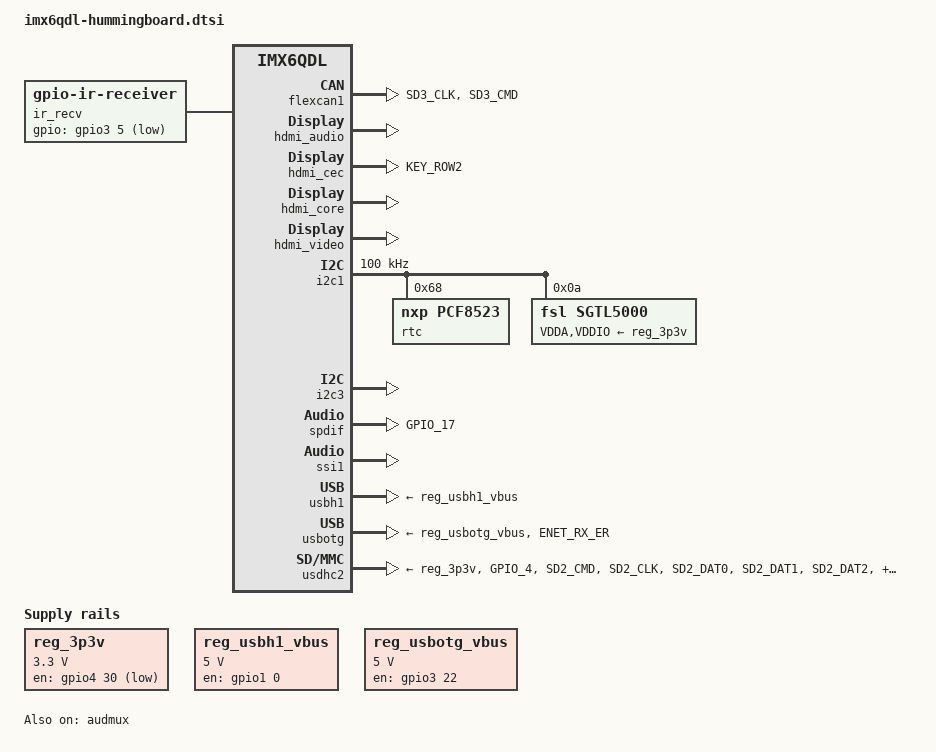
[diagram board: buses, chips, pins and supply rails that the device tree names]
/*
 * Copyright (C) 2013 Russell King
 *
 * The code contained herein is licensed under the GNU General Public
 * License version 2.
 */
#include "imx6qdl-microsom.dtsi"
#include "imx6qdl-microsom-ar8035.dtsi"

/ {
        aliases {
                mxcfb0 = &mxcfb1;
        };

	ir_recv: ir-receiver {
		compatible = "gpio-ir-receiver";
		gpios = <&gpio3 5 1>;
		pinctrl-names = "default";
		pinctrl-0 = <&pinctrl_hummingboard_gpio3_5>;
		linux,rc-map-name = "rc-rc6-mce";
	};

	regulators {
		compatible = "simple-bus";

		reg_3p3v: 3p3v {
			compatible = "regulator-fixed";
			regulator-name = "3P3V";
			regulator-min-microvolt = <3300000>;
			regulator-max-microvolt = <3300000>;
			gpio = <&gpio4 30 0>;
			startup-delay-us = <10000>;
			pinctrl-names = "default";
			pinctrl-0 = <&pinctrl_hummingboard_sd_reg_en>;
			enable-at-boot;
		};

		reg_usbh1_vbus: usb-h1-vbus {
			compatible = "regulator-fixed";
			enable-active-high;
			gpio = <&gpio1 0 0>;
			pinctrl-names = "default";
			pinctrl-0 = <&pinctrl_hummingboard_usbh1_vbus>;
			regulator-name = "usb_h1_vbus";
			regulator-min-microvolt = <5000000>;
			regulator-max-microvolt = <5000000>;
		};

		reg_usbotg_vbus: usb-otg-vbus {
			compatible = "regulator-fixed";
			enable-active-high;
			gpio = <&gpio3 22 0>;
			pinctrl-names = "default";
			pinctrl-0 = <&pinctrl_hummingboard_usbotg_vbus>;
			regulator-name = "usb_otg_vbus";
			regulator-min-microvolt = <5000000>;
			regulator-max-microvolt = <5000000>;
		};
	};

	sound-sgtl5000 {
		compatible = "fsl,imx-audio-sgtl5000";
		model = "On-board Codec";
		ssi-controller = <&ssi1>;
		audio-codec = <&sgtl5000>;
		audio-routing =
			"MIC_IN", "Mic Jack",
			"Mic Jack", "Mic Bias",
			"Headphone Jack", "HP_OUT";
		mux-int-port = <1>;
		mux-ext-port = <5>;
	};

	sound-spdif {
		compatible = "fsl,imx-audio-spdif";
		model = "imx-spdif";
		/* IMX6 doesn't implement this yet */
		spdif-controller = <&spdif>;
		spdif-out;
	};

        sound-hdmi {
                compatible = "fsl,imx6q-audio-hdmi",
                             "fsl,imx-audio-hdmi";
                model = "imx-audio-hdmi";
                hdmi-controller = <&hdmi_audio>;
        };

        mxcfb1: mxc_sdc_fb@0 {
                compatible = "fsl,mxc_sdc_fb";
                disp_dev = "hdmi";
                interface_pix_fmt = "RGB24";
                mode_str ="1920x1080@60";
                default_bpp = <32>;
                int_clk = <0>;
                late_init = <0>;
                status = "okay";
        };
};

&flexcan1 {
	pinctrl-names = "default";
	pinctrl-0 = <&pinctrl_hummingboard_flexcan1>;
	/* trx-stby-gpio = <&gpio1 2 GPIO_ACTIVE_LOW>; */
	status = "okay";
};


&hdmi_audio {
        status = "okay";
};

&hdmi_cec {
        pinctrl-names = "default";
        pinctrl-0 = <&pinctrl_hummingboard_hdmi>;
        status = "okay";
};

&hdmi_core {
        ipu_id = <1>;
        disp_id = <0>;
        status = "okay";
};

&hdmi_video {
        pinctrl-names = "default";
        pinctrl-0 = <&pinctrl_hdmi_hdcp_1>;
        fsl,phy_reg_vlev = <0x0294>;
        fsl,phy_reg_cksymtx = <0x800d>;
        fsl,hdcp;
        status = "okay";
};

&audmux {
	status = "okay";
};

&i2c1 {
	clock-frequency = <100000>;
	pinctrl-names = "default";
	pinctrl-0 = <&pinctrl_i2c1_1>;

	status = "okay";

	rtc: pcf8523@68 {
		compatible = "nxp,pcf8523";
		reg = <0x68>;
	};

	sgtl5000: sgtl5000@0a {
		compatible = "fsl,sgtl5000";
		pinctrl-0 = <&pinctrl_hummingboard_sgtl5000>;
		pinctrl-names = "default";
		reg = <0x0a>;
		clocks = <&clks 201>;
		VDDA-supply = <&reg_3p3v>;
		VDDIO-supply = <&reg_3p3v>;
	};
};

&i2c2 {
	clock-frequency = <100000>;
	pinctrl-names = "default";
	pinctrl-0 = <&pinctrl_i2c2_2>;
	status = "disable";
};

&i2c3 {
	pinctrl-names = "default";
	pinctrl-0 = <&pinctrl_i2c3_1>;

	status = "okay";
};

&iomuxc {
	hummingboard {
		pinctrl_hummingboard_flexcan1: hummingboard-flexcan1 {
			fsl,pins = <
				MX6QDL_PAD_SD3_CLK__FLEXCAN1_RX 0x80000000
				MX6QDL_PAD_SD3_CMD__FLEXCAN1_TX 0x80000000
			>;
		};

		pinctrl_hummingboard_gpio3_5: hummingboard-gpio3_5 {
			fsl,pins = <
				MX6QDL_PAD_EIM_DA5__GPIO3_IO05 0x80000000
			>;
		};

		pinctrl_hummingboard_hdmi: hummingboard-hdmi {
			fsl,pins = <
				MX6QDL_PAD_KEY_ROW2__HDMI_TX_CEC_LINE 0x1f8b0
			>;
		};

		pinctrl_hummingboard_sgtl5000: hummingboard-sgtl5000 {
			fsl,pins = <
				MX6QDL_PAD_DISP0_DAT19__AUD5_RXD 0x130b0 /*brk*/
				MX6QDL_PAD_KEY_COL0__AUD5_TXC 0x130b0 /*ok*/
				MX6QDL_PAD_KEY_ROW0__AUD5_TXD 0x110b0 /*brk*/
				MX6QDL_PAD_KEY_COL1__AUD5_TXFS 0x130b0 /*ok*/
				MX6QDL_PAD_GPIO_5__CCM_CLKO1 0x130b0
			>;
		};

		pinctrl_hummingboard_spdif: hummingboard-spdif {
			fsl,pins = <MX6QDL_PAD_GPIO_17__SPDIF_OUT 0x91>;
		};

		pinctrl_hummingboard_sd_reg_en: hummingboard-sd-reg-en {
			fsl,pins = <MX6QDL_PAD_DISP0_DAT9__GPIO4_IO30 0x130b0>;
		};

		pinctrl_hummingboard_usbh1_vbus: hummingboard-usbh1-vbus {
			fsl,pins = <MX6QDL_PAD_GPIO_0__GPIO1_IO00 0x1b0b0>;
		};

		pinctrl_hummingboard_usbotg_vbus: hummingboard-usbotg-vbus {
			fsl,pins = <MX6QDL_PAD_EIM_D22__GPIO3_IO22 0x1b0b0>;
		};

		pinctrl_hummingboard_usdhc2_aux: hummingboard-usdhc2-aux {
			fsl,pins = <
				MX6QDL_PAD_GPIO_4__GPIO1_IO04    0x1f071
			>;
		};

		pinctrl_hummingboard_usdhc2: hummingboard-usdhc2 {
			fsl,pins = <
				MX6QDL_PAD_SD2_CMD__SD2_CMD    0x17059
				MX6QDL_PAD_SD2_CLK__SD2_CLK    0x10059
				MX6QDL_PAD_SD2_DAT0__SD2_DATA0 0x17059
				MX6QDL_PAD_SD2_DAT1__SD2_DATA1 0x17059
				MX6QDL_PAD_SD2_DAT2__SD2_DATA2 0x17059
				MX6QDL_PAD_SD2_DAT3__SD2_DATA3 0x13059
			>;
		};

		pinctrl_hummingboard_usbotg: hummingboard-usbotg {
			/*
			 * RX_ER is on third header on i.MX6 which is not used.
			 * This method specifices USB OTG ID as on RX_ER
			 * and internally pull it down thus forcing
			 * it to be host.
			 */

			fsl,pins = <MX6QDL_PAD_ENET_RX_ER__USB_OTG_ID 0x13059>;
		};

		pinctrl_hummingboard_pcie: hummingboard_pciegrp {
			fsl,pins = <
				MX6QDL_PAD_EIM_DA4__GPIO3_IO04	0x000b0     /* pcie reset */
			>;
		};
	};
};

&spdif {
	pinctrl-names = "default";
	pinctrl-0 = <&pinctrl_hummingboard_spdif>;
	status = "okay";
};

&ssi1 {
	fsl,mode = "i2s-slave";
	status = "okay";
};

&usbh1 {
	disable-over-current;
	vbus-supply = <&reg_usbh1_vbus>;
	status = "okay";
};

&usbotg {
	disable-over-current;
	pinctrl-names = "default";
	pinctrl-0 = <&pinctrl_hummingboard_usbotg>;
	vbus-supply = <&reg_usbotg_vbus>;
	status = "okay";
};

&uart4 {
	status = "disabled";
};

&usdhc1 {
	status = "disabled";
};

&usdhc2 {
	pinctrl-names = "default";
	pinctrl-0 = <&pinctrl_hummingboard_usdhc2_aux &pinctrl_hummingboard_usdhc2>;
	vmmc-supply = <&reg_3p3v>;
	cd-gpios = <&gpio1 4 0>;
	status = "okay";
};
